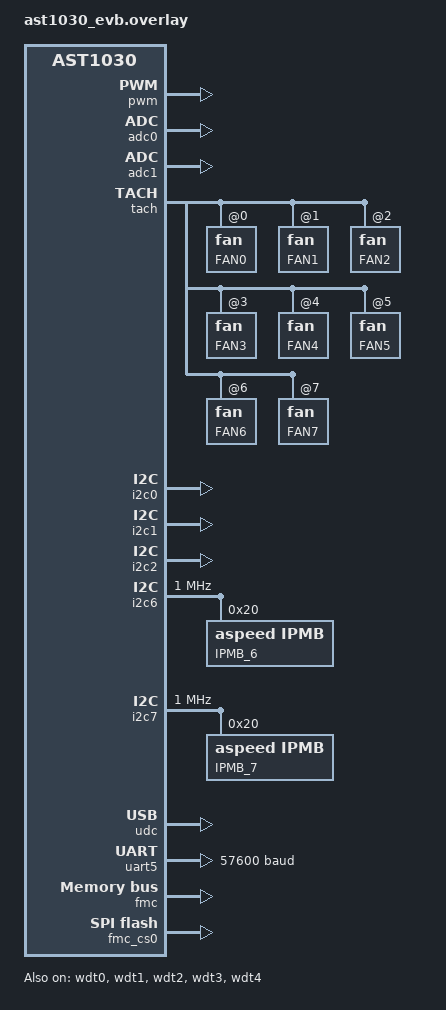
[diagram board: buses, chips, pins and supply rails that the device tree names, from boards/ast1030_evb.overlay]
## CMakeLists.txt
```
# SPDX-License-Identifier: Apache-2.0

cmake_minimum_required(VERSION 3.13.1)

find_package(Zephyr REQUIRED HINTS $ENV{ZEPHYR_BASE})
project(yv35-bb)

set(common_path ../../common)
FILE(GLOB app_sources src/ipmi/*.c src/platform/*.c src/lib/*.c )
FILE(GLOB common_sources ${common_path}/service/*.c ${common_path}/service/*/*.c ${common_path}/hal/*.c ${common_path}/dev/*.c ${common_path}/shell/*.c ${common_path}/shell/commands/*.c)

target_sources(app PRIVATE ${app_sources})
target_sources(app PRIVATE ${common_sources})

# Common Lib
target_sources(app PRIVATE ${common_path}/lib/libutil.c)
target_sources(app PRIVATE ${common_path}/lib/power_status.c)
target_sources(app PRIVATE ${common_path}/lib/timer.c)
target_sources(app PRIVATE ${common_path}/lib/util_pmbus.c)
target_sources(app PRIVATE ${common_path}/lib/util_spi.c)
target_sources(app PRIVATE ${common_path}/lib/util_sys.c)
target_sources(app PRIVATE ${common_path}/lib/util_worker.c)

target_include_directories(app PRIVATE ${ZEPHYR_BASE}/include/portability)

# Common Includes
target_include_directories(app PRIVATE ${common_path})
target_include_directories(app PRIVATE ${common_path}/include)
target_include_directories(app PRIVATE ${common_path}/dev/include)
target_include_directories(app PRIVATE ${common_path}/hal)
target_include_directories(app PRIVATE ${common_path}/lib)
target_include_directories(app PRIVATE ${common_path}/logging)
target_include_directories(app PRIVATE ${common_path}/service/host)
target_include_directories(app PRIVATE ${common_path}/service/ipmb)
target_include_directories(app PRIVATE ${common_path}/service/ipmi/include)
target_include_directories(app PRIVATE ${common_path}/service/logging)
target_include_directories(app PRIVATE ${common_path}/service/mctp)
target_include_directories(app PRIVATE ${common_path}/service/pldm)
target_include_directories(app PRIVATE ${common_path}/service/sensor)
target_include_directories(app PRIVATE ${common_path}/service/usb)
target_include_directories(app PRIVATE ${common_path}/shell/commands)
target_include_directories(app PRIVATE ${common_path}/shell)

# Platform Specific Includes
Target_include_directories(app PRIVATE src/platform)
target_include_directories(app PRIVATE src/ipmi/include) 
target_include_directories(app PRIVATE src/lib)

# Fail build if there are any warnings 
target_compile_options(app PRIVATE -Werror)
```

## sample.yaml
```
tests:
  portability.cmsis_rtos_v2:
    tags: cmsis_rtos
sample:
  description: yv35_tmp 
  name: tmp
common:
    tags: introduction
```

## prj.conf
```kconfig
# cmsis-os2
CONFIG_CMSIS_RTOS_V2=y
CONFIG_NUM_PREEMPT_PRIORITIES=56
#CONFIG_HEAP_MEM_POOL_SIZE=8192
#CONFIG_CMSIS_V2_MSGQ_MAX_DYNAMIC_SIZE=32768
CONFIG_HEAP_MEM_POOL_SIZE=32768
CONFIG_CMSIS_V2_MSGQ_MAX_DYNAMIC_SIZE=16384
CONFIG_POLL=y
CONFIG_THREAD_NAME=y
CONFIG_THREAD_STACK_INFO=y
CONFIG_THREAD_MONITOR=y
CONFIG_IRQ_OFFLOAD=n
CONFIG_INIT_STACKS=y
CONFIG_SCHED_SCALABLE=y
CONFIG_CMSIS_V2_MEM_SLAB_MAX_DYNAMIC_SIZE=128
CONFIG_CMSIS_V2_THREAD_MAX_COUNT=23
CONFIG_CMSIS_V2_THREAD_DYNAMIC_MAX_COUNT=10
CONFIG_TIMEOUT_64BIT=y
CONFIG_CMSIS_V2_THREAD_MAX_STACK_SIZE=8000
CONFIG_CMSIS_V2_THREAD_DYNAMIC_STACK_SIZE=3000
CONFIG_MP_NUM_CPUS=1

# disable for qemu delay too short issue
CONFIG_QEMU_ICOUNT=n

# define aspeed driver
CONFIG_GPIO=y
CONFIG_SPI=y
CONFIG_SPI_NOR_MULTI_DEV=y
CONFIG_I2C=y
CONFIG_THREAD_RUNTIME_STATS=y
CONFIG_GPIO_SHELL=y
CONFIG_I2C_SLAVE=y
CONFIG_I2C_EEPROM_SLAVE=y
CONFIG_I2C_IPMB_SLAVE=y
CONFIG_PWM=y
CONFIG_ADC=y
CONFIG_JTAG=n
CONFIG_FLASH=y
CONFIG_FLASH_SHELL=y
CONFIG_SENSOR=y
CONFIG_HWINFO=y
CONFIG_ESPI=n
CONFIG_PECI=n
CONFIG_MINIMAL_LIBC_MALLOC_ARENA_SIZE=102400
CONFIG_REBOOT=y
CONFIG_POSIX_CLOCK=y
CONFIG_STACK_SENTINEL=y
CONFIG_LOG=y
CONFIG_LOG_BACKEND_UART=y
CONFIG_SHELL=y
CONFIG_SHELL_BACKEND_SERIAL_INIT_PRIORITY=99
CONFIG_IPMI=y
CONFIG_IPMI_KCS_ASPEED=n
CONFIG_I3C=n
CONFIG_I3C_SLAVE=n
CONFIG_I3C_SLAVE_MQUEUE=n
CONFIG_WATCHDOG=y
CONFIG_WDT_DISABLE_AT_BOOT=n

#USB
CONFIG_USB=y
CONFIG_USB_DEVICE_STACK=y
CONFIG_USB_DEVICE_PRODUCT="Zephyr CDC ACM"
CONFIG_USB_CDC_ACM=y
CONFIG_USB_CDC_ACM_RINGBUF_SIZE=576
CONFIG_USB_DEVICE_VID=0x1d6b
CONFIG_USB_DEVICE_PID=0x0104
CONFIG_LOG_BUFFER_SIZE=5120
#USB

CONFIG_USERSPACE=n
CONFIG_KERNEL_BIN_NAME="Y35BBB"

# logging
CONFIG_SHELL_BACKEND_SERIAL_LOG_LEVEL_WRN=y
```

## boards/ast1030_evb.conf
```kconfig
CONFIG_GPIO_ASPEED_SGPIOM=y
CONFIG_GPIO_ASPEED=y
CONFIG_SPI_ASPEED=y
CONFIG_I2C_ASPEED=y
CONFIG_ADC_ASPEED=y
CONFIG_JTAG_ASPEED=n
CONFIG_PWM_ASPEED=y
CONFIG_TACH_ASPEED=y
CONFIG_ESPI_ASPEED=n
CONFIG_PECI_ASPEED=n
CONFIG_PECI_ASPEED_INTERRUPT_DRIVEN=n
CONFIG_USB_ASPEED=y
CONFIG_I3C_ASPEED=n
CONFIG_CRYPTO=n
CONFIG_CRYPTO_ASPEED=n
CONFIG_RSA_ASPEED=n
CONFIG_WDT_ASPEED=y
```

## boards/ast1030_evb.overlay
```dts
&pwm {
	status = "okay";
	pinctrl-0 = <&pinctrl_pwm0_default &pinctrl_pwm1_default
		&pinctrl_pwm2_default &pinctrl_pwm3_default>;
};

&adc0 {
	status = "okay";
	pinctrl-0 = <&pinctrl_adc0_default &pinctrl_adc1_default
		&pinctrl_adc2_default &pinctrl_adc3_default
		&pinctrl_adc4_default &pinctrl_adc5_default
		&pinctrl_adc6_default &pinctrl_adc7_default>;
};

&adc1 {
	status = "okay";
	pinctrl-0 = <&pinctrl_adc8_default &pinctrl_adc9_default
		&pinctrl_adc10_default &pinctrl_adc11_default
		&pinctrl_adc12_default &pinctrl_adc13_default
		&pinctrl_adc14_default &pinctrl_adc15_default>;
};

&tach {
	status = "okay";
	pinctrl-0 = <&pinctrl_tach0_default &pinctrl_tach1_default
		&pinctrl_tach2_default &pinctrl_tach3_default
		&pinctrl_tach4_default &pinctrl_tach5_default
		&pinctrl_tach6_default &pinctrl_tach7_default>;

	fan@0 {
		reg = <0>;
		pulse-pr = <2>;
		min-rpm = <1000>;
		tach-div = <5>;
		label = "FAN0";
	};

	fan@1 {
		reg = <1>;
		pulse-pr = <2>;
		min-rpm = <1000>;
		tach-div = <5>;
		label = "FAN1";
	};

	fan@2 {
		reg = <2>;
		pulse-pr = <2>;
		min-rpm = <1000>;
		tach-div = <5>;
		label = "FAN2";
	};

	fan@3 {
		reg = <3>;
		pulse-pr = <2>;
		min-rpm = <1000>;
		tach-div = <5>;
		label = "FAN3";
	};

	fan@4 {
		reg = <4>;
		pulse-pr = <2>;
		min-rpm = <1000>;
		tach-div = <5>;
		label = "FAN4";
	};

	fan@5 {
		reg = <5>;
		pulse-pr = <2>;
		min-rpm = <1000>;
		tach-div = <5>;
		label = "FAN5";
	};

	fan@6 {
		reg = <6>;
		pulse-pr = <2>;
		min-rpm = <1000>;
		tach-div = <5>;
		label = "FAN6";
	};

	fan@7 {
		reg = <7>;
		pulse-pr = <2>;
		min-rpm = <1000>;
		tach-div = <5>;
		label = "FAN7";
	};
};

&i2c0 {
	pinctrl-0 = <&pinctrl_i2c0_default>;
	status = "okay";
};

&i2c1 {
	pinctrl-0 = <&pinctrl_i2c1_default>;
	status = "okay";
};

&i2c2 {
	pinctrl-0 = <&pinctrl_i2c2_default>;
	status = "okay";
};

&i2c6 {
	pinctrl-0 = <&pinctrl_i2c6_default>;
	clock-frequency = <I2C_BITRATE_FAST_PLUS>;
	status = "okay";

	ipmb6: ipmb@20 {
		compatible = "aspeed,ipmb";
		reg = <0x20>;
		label = "IPMB_6";
		size = <10>;
#ifdef CONFIG_I2C_IPMB_SLAVE
		status = "okay";
#endif
	};
};

&i2c7 {
	pinctrl-0 = <&pinctrl_i2c7_default>;
	clock-frequency = <I2C_BITRATE_FAST_PLUS>;
	status = "okay";

	ipmb7: ipmb@20 {
		compatible = "aspeed,ipmb";
		reg = <0x20>;
		label = "IPMB_7";
		size = <10>;
#ifdef CONFIG_I2C_IPMB_SLAVE
		status = "okay";
#endif
	};

};

&udc {
	status = "okay";
};

&uart5 {
	current-speed = <57600>;
};

&fmc {
	status = "okay";
};

&fmc_cs0 {
	status = "okay";
	spi-max-buswidth = <4>;
	spi-max-frequency = <50000000>;

	partitions {
		compatible = "fixed-partitions";
		#address-cells = <1>;
		#size-cells = <1>;
		boot_partition: partition@0 {
			label = "image-0";
			reg = <0x0 0x100000>;
		};
		dfu_partition: partition@1 {
			label = "image-1";
			reg = <0x0 0x100000>;
		};
	};
};

&fmc_cs1 {
	status = "disabled";
	spi-max-buswidth = <4>;
	spi-max-frequency = <50000000>;
};

&spi1 {
	status = "disabled";
};

&spi1_cs0 {
	status = "disabled";
	spi-max-buswidth = <4>;
	spi-max-frequency = <50000000>;
};

&spi1_cs1 {
	status = "disabled";
	spi-max-buswidth = <4>;
	spi-max-frequency = <50000000>;
};

&spi2 {
	status = "disabled";
};

&spi2_cs0 {
	status = "disabled";
	spi-max-buswidth = <4>;
	spi-max-frequency = <50000000>;
};

&spi2_cs1 {
	status = "disabled";
	spi-max-buswidth = <4>;
	spi-max-frequency = <50000000>;
};

&wdt0 {
	status = "okay";
};

&wdt1 {
	status = "okay";
};

&wdt2 {
	status = "okay";
};

&wdt3 {
	status = "okay";
};

&wdt4 {
	status = "okay";
};

&sram0 {
	reg = <0 DT_SIZE_K(576)>, <0x90000 DT_SIZE_K(192)>;
};
```

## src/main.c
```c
/*
 * Copyright (c) 2012-2014 Wind River Systems, Inc.
 *
 * SPDX-License-Identifier: Apache-2.0
 */

#include <zephyr.h>
#include <kernel.h>
#include <cmsis_os2.h>
#include <sys/printk.h>
#include "sensor.h"
#include "hal_i2c.h"
#include "plat_gpio.h"
#include "ipmi.h"
#include "plat_sys.h"
#include "adm1278.h"
#include "adc.h"
#include "timer.h"
#include "fru.h"
#include "usb.h"

void device_init()
{
	adc_init();
	adm1278_init();
}

void set_sys_status()
{
	gpio_set(BIC_READY_R, GPIO_HIGH);
}

void main(void)
{
	printk("Hello, welcome to yv35 baseboard %x%x.%x.%x\n", BIC_FW_YEAR_MSB, BIC_FW_YEAR_LSB,
	       BIC_FW_WEEK, BIC_FW_VER);

	util_init_timer();
	util_init_I2C();

	sensor_init();
	FRU_init();
	ipmi_init();
	usb_dev_init();
	device_init();
	set_sys_status();
}

#define DEF_PROJ_GPIO_PRIORITY 61

DEVICE_DEFINE(PRE_DEF_PROJ_GPIO, "PRE_DEF_PROJ_GPIO_NAME", &gpio_init, NULL, NULL, NULL,
	      POST_KERNEL, DEF_PROJ_GPIO_PRIORITY, NULL);
```
